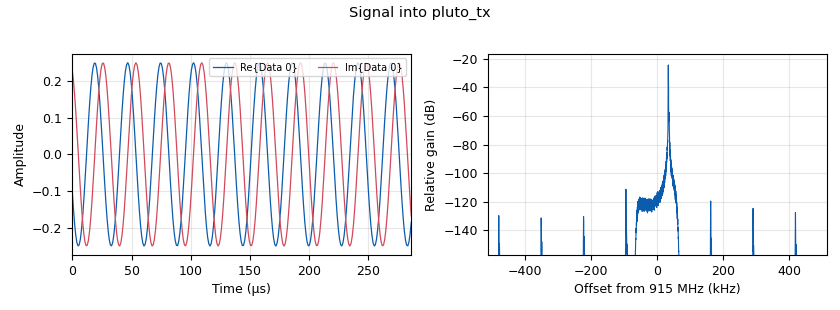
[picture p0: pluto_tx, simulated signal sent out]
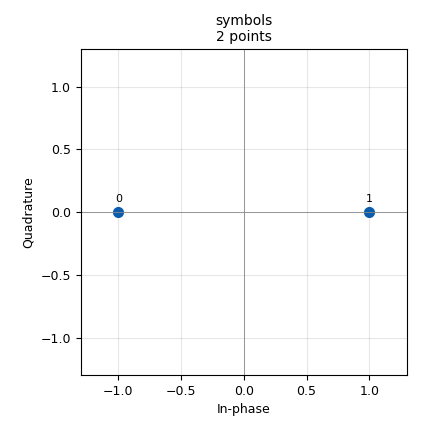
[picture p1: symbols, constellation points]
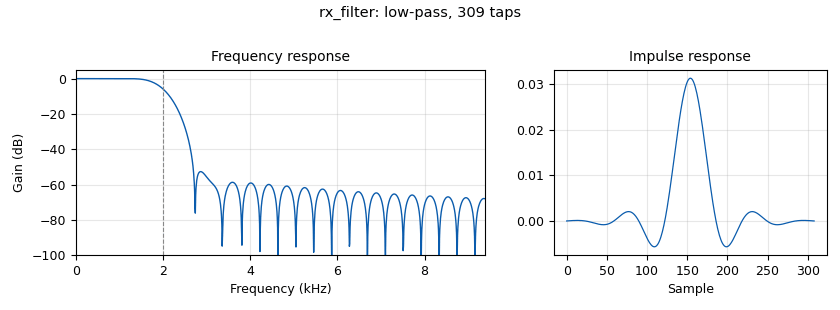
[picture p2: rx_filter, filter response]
options:
  parameters:
    author: ECE 448
    description: 'L16 Lab: the hopping FSK link through one PlutoSDR, TX port to RX port through a 30 dB attenuator, at 915 MHz. A jammer tone added in software leaves the same TX port. Needs a PlutoSDR.'
    generate_options: qt_gui
    id: L16_fhss_pluto
    output_language: python
    title: L16 - FHSS on a PlutoSDR
  states: {}

blocks:
- name: baud
  id: variable
  parameters:
    value: '1000'
  states: {}
- name: chan_f
  id: variable
  parameters:
    value: '[spacing*(k - (nch - 1)/2) for k in range(nch)]'
  states: {}
- name: dev
  id: variable
  parameters:
    value: '1000'
  states: {}
- name: dwell
  id: variable
  parameters:
    value: hop_bits*sps
  states: {}
- name: extra
  id: variable
  parameters:
    value: (tx_atten, rx_gain)
  states: {}
- name: fc
  id: variable
  parameters:
    value: '915000000'
  states: {}
- name: guard
  id: variable
  parameters:
    value: '2'
  states: {}
- name: hdr
  id: variable
  parameters:
    value: digital.header_format_default(digital.packet_utils.default_access_code, 0)
  states: {}
- name: hop_bits
  id: variable
  parameters:
    value: 8*(2*guard + 12 + len(msg) + 1)
  states: {}
- name: hop_f
  id: variable
  parameters:
    value: '[chan_f[c] for c in seq]'
  states: {}
- name: jam_amp
  id: variable_qtgui_range
  parameters:
    gui_hint: 0,1,1,1
    label: Jammer amplitude
    start: '0'
    step: '0.1'
    stop: '3'
    value: '0'
  states: {}
- name: jam_ch
  id: variable_qtgui_range
  parameters:
    gui_hint: 1,0,1,1
    label: Jammer channel
    rangeType: int
    start: '0'
    step: '1'
    stop: '7'
    value: '4'
  states: {}
- name: key
  id: variable
  parameters:
    value: '448'
  states: {}
- name: msg
  id: variable
  parameters:
    value: '''USAFA ECE 448'''
  states: {}
- name: nch
  id: variable
  parameters:
    value: '8'
  states: {}
- name: offset
  id: variable_qtgui_range
  parameters:
    gui_hint: 2,0,1,1
    label: Receiver hop offset (hops)
    rangeType: int
    start: '-2'
    step: '1'
    stop: '2'
    value: '0'
  states: {}
- name: radio_rate
  id: variable
  parameters:
    value: samp_rate*8
  states: {}
- name: rx_gain
  id: variable_qtgui_range
  parameters:
    gui_hint: 1,1,1,1
    label: Pluto RX gain (dB)
    start: '0'
    step: '1'
    stop: '70'
    value: '40'
  states: {}
- name: rx_key
  id: variable
  parameters:
    value: key
  states: {}
- name: rx_label
  id: variable_qtgui_label
  parameters:
    formatter: 'lambda x: '':  '' + x'
    gui_hint: 8,0,1,2
    label: Received
    type: string
    value: rx_text
  states: {}
- name: rx_rate
  id: variable
  parameters:
    value: samp_rate/4
  states: {}
- name: rx_seq
  id: variable
  parameters:
    value: '[int(c) for c in np.random.default_rng(rx_key).permutation(nch)]'
  states: {}
- name: rx_sps
  id: variable
  parameters:
    value: int(rx_rate/baud)
  states: {}
- name: rx_state
  id: variable_function_probe
  parameters:
    block_id: hop_sync
    function_name: state
    poll_rate: '4'
    value: '''searching'''
  states: {}
- name: rx_stats
  id: variable_function_probe
  parameters:
    block_id: text_sink
    function_name: stats
    poll_rate: '4'
    value: ''''''
  states: {}
- name: rx_text
  id: variable_function_probe
  parameters:
    block_id: text_sink
    function_name: last_line
    poll_rate: '4'
    value: '''(waiting for a packet)'''
  states: {}
- name: samp_rate
  id: variable
  parameters:
    value: '128000'
  states: {}
- name: seq
  id: variable
  parameters:
    value: '[int(c) for c in np.random.default_rng(key).permutation(nch)]'
  states: {}
- name: spacing
  id: variable
  parameters:
    value: '10000'
  states: {}
- name: sps
  id: variable
  parameters:
    value: int(samp_rate/baud)
  states: {}
- name: state_label
  id: variable_qtgui_label
  parameters:
    formatter: 'lambda x: '':  '' + x'
    gui_hint: 7,0,1,1
    label: Receiver
    type: string
    value: rx_state
  states: {}
- name: stats_label
  id: variable_qtgui_label
  parameters:
    formatter: 'lambda x: '':  '' + x'
    gui_hint: 7,1,1,1
    label: Packets
    type: string
    value: rx_stats
  states: {}
- name: timing_ms
  id: variable_qtgui_range
  parameters:
    gui_hint: 2,1,1,1
    label: Receiver timing error (ms)
    start: '-40'
    step: '1'
    stop: '40'
    value: '0'
  states: {}
- name: tx_atten
  id: variable_qtgui_range
  parameters:
    gui_hint: 0,0,1,1
    label: Pluto TX attenuation (dB)
    start: '30'
    step: '1'
    stop: '89'
    value: '60'
  states: {}
- name: tx_scale
  id: variable
  parameters:
    value: '0.25'
  states: {}
- name: agc
  id: analog_agc3_xx
  parameters:
    attack_rate: '1.0'
    decay_rate: '0.0001'
    gain: '1.0'
    iir_update_decim: '1'
    max_gain: '1000000.0'
    reference: '1.0'
    type: complex
  states: {}
- name: bit_average
  id: blocks_moving_average_xx
  parameters:
    length: rx_sps
    max_iter: '4000'
    scale: 1/rx_sps
    type: float
  states: {}
- name: find_packet
  id: digital_correlate_access_code_xx_ts
  parameters:
    access_code: digital.packet_utils.default_access_code
    tagname: '"packet_len"'
    threshold: '2'
    type: byte
  states: {}
- name: fsk
  id: analog_frequency_modulator_fc
  parameters:
    sensitivity: 2*math.pi*dev/samp_rate
  states: {}
- name: fsk_demod
  id: analog_quadrature_demod_cf
  parameters:
    gain: rx_rate/(2*math.pi*dev)
  states: {}
- name: guard_src
  id: blocks_vector_source_x
  parameters:
    repeat: 'True'
    type: byte
    vector: '[0x55]*guard'
  states: {}
- name: guard_tag
  id: blocks_stream_to_tagged_stream
  parameters:
    len_tag_key: '"packet_len"'
    packet_len: guard
    type: byte
  states: {}
- name: header
  id: digital_protocol_formatter_bb
  parameters:
    format: hdr
    len_tag_key: '"packet_len"'
  states: {}
- name: hop_frame
  id: blocks_tagged_stream_mux
  parameters:
    lengthtagname: '"packet_len"'
    ninputs: '4'
    type: byte
  states: {}
- name: hop_src
  id: blocks_vector_source_x
  parameters:
    repeat: 'True'
    type: float
    vector: hop_f
  states: {}
- name: hop_sync
  id: epy_block
  parameters:
    _source_code: |
      """Hop Sync: the receiver's hop synthesizer. It multiplies the received band
      by a tone that follows the same hop sequence as the transmitter, so the
      transmitted signal comes out at 0 Hz on every hop.

      Sync on a known hop: until it is locked, the block parks on the sync
      channel, chan_f[seq[0]], the channel of hop 0. The sequence uses each channel
      once per cycle, so the transmitter shows up there only on hop 0. When the
      power in the sync channel jumps, hop 0 has started: the block takes that
      moment as its hop boundary and hops from then on, one hop every `dwell`
      samples. Each received packet arrives on the 'pkt' message port; if a full
      cycle and one more hop pass with no packet, the block parks again.

      offset (hops) and timing_ms move the receiver's hops away from the ones it
      found, to show what a sync error does. A Function Probe reads state()."""

      import numpy as np
      import pmt
      from gnuradio import gr
      from gnuradio.filter import firdes


      class blk(gr.sync_block):
          def __init__(self, samp_rate=128000, dwell=30720, chan_f=[0.0], seq=[0], offset=0, timing_ms=0.0):
              gr.sync_block.__init__(self, name='Hop Sync', in_sig=[np.complex64], out_sig=[np.complex64])
              self.message_port_register_in(pmt.intern('pkt'))
              self.set_msg_handler(pmt.intern('pkt'), self.on_packet)
              self.samp_rate = samp_rate
              self.dwell = int(dwell)
              self.chan_f = list(chan_f)
              self.seq = [int(c) for c in seq]
              self.offset = offset
              self.timing_ms = timing_ms
              self.taps = np.array(firdes.low_pass(1, samp_rate, 2500, 2000), dtype=np.float32)
              self.hist = np.zeros(len(self.taps) - 1, dtype=np.complex64)
              self.tick = 64                      # power measured every 0.5 ms at 128 kHz
              self.ticks = []                     # recent tick powers
              self.part = np.zeros(0, dtype=np.float32)
              self.ph_lo = 0.0                    # phase of the output tone
              self.ph_sync = 0.0                  # phase of the sync-channel detector
              self.n_now = 0
              self.locked = len(self.seq) == 1    # one channel: nothing to find
              self.b = 0                          # sample where some hop 0 started
              self.last_pkt = 0                   # hop count of the last packet

          def on_packet(self, msg):
              if self.locked:
                  self.last_pkt = self.hop_count(self.n_now)

          def hop_count(self, n):
              shift = int(round(self.timing_ms * 1e-3 * self.samp_rate))
              return (n - self.b - shift) // self.dwell

          def state(self):
              if not self.locked:
                  return f'searching: parked on channel {self.seq[0]}'
              h = self.hop_count(self.n_now) + int(self.offset)
              return f'locked: hop {h % len(self.seq)}, channel {self.seq[h % len(self.seq)]}'

          def detect(self, x, n0):
              """Return the sample where hop 0 began, or None."""
              n = np.arange(len(x))
              w = 2 * np.pi * self.chan_f[self.seq[0]] / self.samp_rate
              y = x * np.exp(-1j * (self.ph_sync + w * n)).astype(np.complex64)
              self.ph_sync = (self.ph_sync + w * len(x)) % (2 * np.pi)
              z = np.convolve(np.concatenate([self.hist, y]), self.taps, mode='valid')
              self.hist = np.concatenate([self.hist, y])[-(len(self.taps) - 1):]
              p = np.concatenate([self.part, np.abs(z) ** 2])
              k = len(p) // self.tick
              first = n0 + len(x) - len(p)        # sample index of p[0]
              self.part = p[k * self.tick:]
              found = None
              for i in range(k):
                  self.ticks.append(p[i * self.tick:(i + 1) * self.tick].mean())
                  t = self.ticks
                  if len(t) < 48 or found is not None:
                      continue
                  now = np.mean(t[-4:])                # last 2 ms
                  ref = np.mean(t[-44:-8])             # 18 ms, ending 4 ms ago
                  if now > 4 * ref + 1e-9:
                      j = len(t) - 8 + int(np.argmax(np.array(t[-8:]) > now / 2))
                      back = len(t) - 1 - j            # ticks before this one
                      found = first + (i - back) * self.tick - (len(self.taps) - 1) // 2
              del self.ticks[:-64]
              return found

          def work(self, input_items, output_items):
              x = input_items[0]
              n0 = self.nitems_read(0)
              self.n_now = n0 + len(x)
              b = self.detect(x, n0)
              if not self.locked and b is not None:
                  self.locked, self.b = True, b
                  self.last_pkt = 0
              nch = len(self.seq)
              if self.locked and nch > 1 and self.hop_count(self.n_now) - self.last_pkt > nch + 1:
                  self.locked = False
              n = n0 + np.arange(len(x))
              if self.locked:
                  h = self.hop_count(n) + int(self.offset)
                  f = np.array(self.chan_f)[np.array(self.seq)[h % nch]]
              else:
                  f = np.full(len(x), self.chan_f[self.seq[0]])
              dph = 2 * np.pi * f / self.samp_rate
              ph = self.ph_lo + np.cumsum(dph) - dph
              self.ph_lo = float((ph[-1] + dph[-1]) % (2 * np.pi)) if len(x) else self.ph_lo
              output_items[0][:] = x * np.exp(-1j * ph).astype(np.complex64)
              return len(x)
    chan_f: chan_f
    dwell: dwell
    offset: offset
    samp_rate: samp_rate
    seq: rx_seq
    timing_ms: timing_ms
  states: {}
- name: hop_synth
  id: blocks_vco_c
  parameters:
    amplitude: '1'
    samp_rate: samp_rate
    sensitivity: 2*math.pi
  states: {}
- name: import_0
  id: import
  parameters:
    imports: |-
      import math
      import numpy as np
  states: {}
- name: jammer
  id: analog_sig_source_x
  parameters:
    amp: jam_amp
    freq: chan_f[jam_ch % nch]
    offset: '0'
    phase: '0'
    samp_rate: samp_rate
    type: complex
    waveform: analog.GR_COS_WAVE
  states: {}
- name: msg_src
  id: blocks_vector_source_x
  parameters:
    repeat: 'True'
    type: byte
    vector: list(msg.encode()) + [10]
  states: {}
- name: msg_tag
  id: blocks_stream_to_tagged_stream
  parameters:
    len_tag_key: '"packet_len"'
    packet_len: len(msg) + 1
    type: byte
  states: {}
- name: pluto_rx
  id: iio_pluto_source
  parameters:
    bandwidth: '200000'
    bbdc: 'True'
    buffer_size: '32768'
    filter_source: '''Auto'''
    frequency: int(fc)
    gain1: '''manual'''
    manual_gain1: rx_gain
    quadrature: 'True'
    rfdc: 'True'
    samplerate: int(radio_rate)
    type: fc32
    uri: '"ip:192.168.2.1"'
  states: {}
- name: pluto_tx
  id: iio_pluto_sink
  parameters:
    attenuation1: tx_atten
    bandwidth: '200000'
    buffer_size: '32768'
    cyclic: 'False'
    filter_source: '''Auto'''
    frequency: int(fc)
    samplerate: int(radio_rate)
    type: fc32
    uri: '"ip:192.168.2.1"'
  states: {}
- name: repack
  id: blocks_repack_bits_bb
  parameters:
    endianness: gr.GR_MSB_FIRST
    k: '1'
    l: '8'
    len_tag_key: '"packet_len"'
  states: {}
- name: repeat_bits
  id: blocks_repeat
  parameters:
    interp: sps
    type: float
  states: {}
- name: repeat_hop
  id: blocks_repeat
  parameters:
    interp: dwell
    type: float
  states: {}
- name: rx_filter
  id: low_pass_filter
  parameters:
    cutoff_freq: dev + baud
    decim: '4'
    gain: '1'
    samp_rate: samp_rate
    type: fir_filter_ccf
    width: '1000'
    win: window.WIN_HAMMING
  states: {}
- name: rx_resamp
  id: rational_resampler_xxx
  parameters:
    decim: '8'
    interp: '1'
    type: ccc
  states: {}
- name: slicer
  id: digital_binary_slicer_fb
  parameters: {}
  states: {}
- name: symbol_sync
  id: digital_symbol_sync_xx
  parameters:
    damping: '1.0'
    loop_bw: '0.045'
    max_dev: '1.5'
    osps: '1'
    resamp_type: digital.IR_MMSE_8TAP
    sps: rx_sps
    ted_gain: '1.0'
    ted_type: digital.TED_GARDNER
    type: ff
  states: {}
- name: symbols
  id: digital_chunks_to_symbols_xx
  parameters:
    dimension: '1'
    in_type: byte
    out_type: float
    symbol_table: '[-1, 1]'
  states: {}
- name: text_sink
  id: epy_block
  parameters:
    _source_code: |
      """Text Sink: shows each received packet as a line of text, counts the lines
      that match the transmitted message, and compares that count with the number
      of hops the transmitter has sent, one packet per hop. The counts restart
      whenever a slider moves, because GRC sets `settings` each time one changes.
      Every packet also goes out the 'pkt' port, which tells Hop Sync that it is
      still on the right hops. Function Probes read last_line() and stats()."""

      import time

      import numpy as np
      import pmt
      from gnuradio import gr


      class blk(gr.sync_block):
          def __init__(self, expected='', hop_rate=1.0, settings=None):
              gr.sync_block.__init__(self, name='Text Sink', in_sig=[np.uint8], out_sig=None)
              self.message_port_register_out(pmt.intern('pkt'))
              self.expected = expected
              self.hop_rate = hop_rate
              self.key = pmt.intern('packet_len')
              self.buf = ''
              self.need = 0
              self.line = '(waiting for a packet)'
              self.settings = settings

          @property
          def settings(self):
              return self._settings

          @settings.setter
          def settings(self, value):
              self._settings = value
              self.good = 0
              self.total = 0
              self.t0 = time.monotonic()

          def work(self, input_items, output_items):
              data = input_items[0]
              start = self.nitems_read(0)
              # Each packet starts with a packet_len tag, so a corrupted newline
              # cannot run two packets together.
              # Each packet starts with a packet_len tag that holds its length, so
              # the line ends after that many bytes, even if its newline is wrong.
              tags = {t.offset - start: pmt.to_long(t.value)
                      for t in self.get_tags_in_window(0, 0, len(data), self.key)}
              for i, b in enumerate(data):
                  if i in tags:
                      if self.buf:
                          self.finish()
                      self.need = tags[i]
                  self.buf += chr(b) if 32 <= b < 127 or b == 10 else '?'
                  if len(self.buf) == self.need:
                      self.finish()
              return len(data)

          def finish(self):
              self.line = self.buf[:-1] if self.buf.endswith('\n') else self.buf
              self.total += 1
              self.good += self.buf == self.expected + '\n'
              self.buf = ''
              self.message_port_pub(pmt.intern('pkt'), pmt.PMT_T)

          def last_line(self):
              return self.line

          def stats(self):
              t = time.monotonic() - self.t0
              sent = int(t * self.hop_rate)
              pct = f' ({100 * self.good / sent:.0f}%)' if sent else ''
              return f'{self.good} correct of {sent} sent in {t:.0f} s{pct}'
    expected: msg
    hop_rate: samp_rate/dwell
    settings: (jam_amp, jam_ch, offset, timing_ms) + extra
  states: {}
- name: tx_level
  id: blocks_multiply_const_vxx
  parameters:
    const: tx_scale
    type: complex
  states: {}
- name: tx_mixer
  id: blocks_multiply_xx
  parameters:
    type: complex
  states: {}
- name: tx_resamp
  id: rational_resampler_xxx
  parameters:
    decim: '1'
    interp: '8'
    type: ccc
  states: {}
- name: tx_sum
  id: blocks_add_xx
  parameters:
    type: complex
  states: {}
- name: unpack
  id: blocks_unpack_k_bits_bb
  parameters:
    k: '8'
  states: {}
- name: wf_dehop
  id: qtgui_waterfall_sink_x
  parameters:
    bw: samp_rate
    fc: '0'
    fftsize: '1024'
    gui_hint: 3,1,4,1
    int_max: '0'
    int_min: '-60'
    name: '"After Hop Sync"'
    type: complex
    update_time: '0.05'
  states: {}
- name: wf_rx
  id: qtgui_waterfall_sink_x
  parameters:
    bw: samp_rate
    fc: '0'
    fftsize: '1024'
    gui_hint: 3,0,4,1
    int_max: '0'
    int_min: '-60'
    name: '"Received band"'
    type: complex
    update_time: '0.05'
  states: {}

connections:
- [agc, '0', hop_sync, '0']
- [agc, '0', wf_rx, '0']
- [bit_average, '0', symbol_sync, '0']
- [find_packet, '0', repack, '0']
- [fsk, '0', tx_mixer, '0']
- [fsk_demod, '0', bit_average, '0']
- [guard_src, '0', guard_tag, '0']
- [guard_tag, '0', hop_frame, '0']
- [guard_tag, '0', hop_frame, '3']
- [header, '0', hop_frame, '1']
- [hop_frame, '0', unpack, '0']
- [hop_src, '0', repeat_hop, '0']
- [hop_sync, '0', rx_filter, '0']
- [hop_sync, '0', wf_dehop, '0']
- [hop_synth, '0', tx_mixer, '1']
- [jammer, '0', tx_sum, '1']
- [msg_src, '0', msg_tag, '0']
- [msg_tag, '0', header, '0']
- [msg_tag, '0', hop_frame, '2']
- [pluto_rx, '0', rx_resamp, '0']
- [repack, '0', text_sink, '0']
- [repeat_bits, '0', fsk, '0']
- [repeat_hop, '0', hop_synth, '0']
- [rx_filter, '0', fsk_demod, '0']
- [rx_resamp, '0', agc, '0']
- [slicer, '0', find_packet, '0']
- [symbol_sync, '0', slicer, '0']
- [symbols, '0', repeat_bits, '0']
- [text_sink, pkt, hop_sync, pkt]
- [tx_level, '0', tx_resamp, '0']
- [tx_mixer, '0', tx_sum, '0']
- [tx_resamp, '0', pluto_tx, '0']
- [tx_sum, '0', tx_level, '0']
- [unpack, '0', symbols, '0']

metadata:
  file_format: 1
  grc_version: 3.10.9.2
